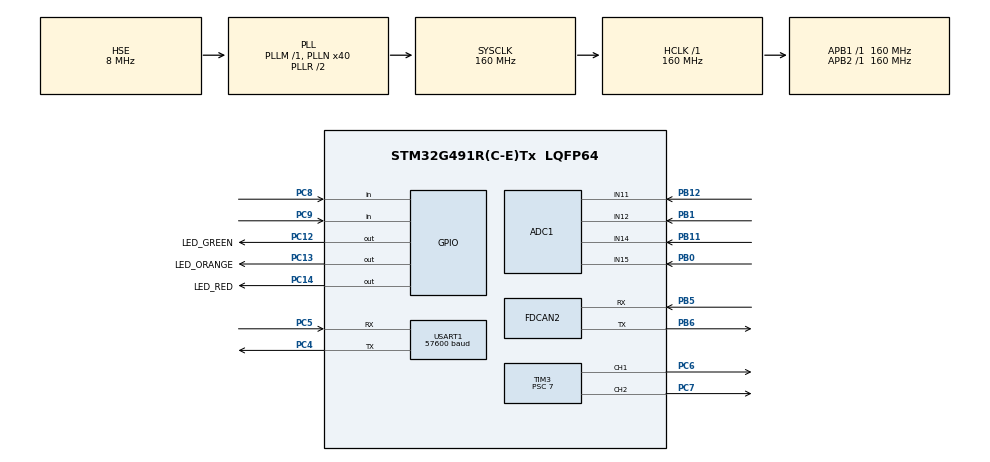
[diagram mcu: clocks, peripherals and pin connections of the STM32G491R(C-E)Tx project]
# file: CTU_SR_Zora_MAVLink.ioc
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ADC1.Channel-0\#ChannelRegularConversion=ADC_CHANNEL_12
ADC1.Channel-1\#ChannelRegularConversion=ADC_CHANNEL_11
ADC1.Channel-2\#ChannelRegularConversion=ADC_CHANNEL_14
ADC1.Channel-3\#ChannelRegularConversion=ADC_CHANNEL_15
ADC1.NbrOfConversion=4
ADC1.NbrOfConversionFlag=1
ADC1.OffsetNumber-0\#ChannelRegularConversion=ADC_OFFSET_NONE
ADC1.OffsetNumber-1\#ChannelRegularConversion=ADC_OFFSET_NONE
ADC1.OffsetNumber-2\#ChannelRegularConversion=ADC_OFFSET_NONE
ADC1.OffsetNumber-3\#ChannelRegularConversion=ADC_OFFSET_NONE
ADC1.Rank-0\#ChannelRegularConversion=1
ADC1.Rank-1\#ChannelRegularConversion=2
ADC1.Rank-2\#ChannelRegularConversion=3
ADC1.Rank-3\#ChannelRegularConversion=4
ADC1.SamplingTime-0\#ChannelRegularConversion=ADC_SAMPLETIME_2CYCLES_5
ADC1.SamplingTime-1\#ChannelRegularConversion=ADC_SAMPLETIME_2CYCLES_5
ADC1.SamplingTime-2\#ChannelRegularConversion=ADC_SAMPLETIME_2CYCLES_5
ADC1.SamplingTime-3\#ChannelRegularConversion=ADC_SAMPLETIME_2CYCLES_5
ADC1.master=1
Dma.ADC1.0.Direction=DMA_PERIPH_TO_MEMORY
Dma.ADC1.0.EventEnable=DISABLE
Dma.ADC1.0.Instance=DMA1_Channel1
Dma.ADC1.0.MemDataAlignment=DMA_MDATAALIGN_WORD
Dma.ADC1.0.MemInc=DMA_MINC_ENABLE
Dma.ADC1.0.Mode=DMA_CIRCULAR
Dma.ADC1.0.PeriphDataAlignment=DMA_PDATAALIGN_WORD
Dma.ADC1.0.PeriphInc=DMA_PINC_DISABLE
Dma.ADC1.0.Polarity=HAL_DMAMUX_REQ_GEN_RISING
Dma.ADC1.0.Priority=DMA_PRIORITY_LOW
Dma.ADC1.0.RequestNumber=1
Dma.ADC1.0.SignalID=NONE
Dma.ADC1.0.SyncEnable=DISABLE
Dma.ADC1.0.SyncPolarity=HAL_DMAMUX_SYNC_NO_EVENT
Dma.ADC1.0.SyncRequestNumber=1
Dma.ADC1.0.SyncSignalID=NONE
Dma.Request0=ADC1
FDCAN2.AutoRetransmission=DISABLE
FDCAN2.CalculateBaudRateNominal=125000
FDCAN2.CalculateTimeBitNominal=8000
FDCAN2.CalculateTimeQuantumNominal=1000.0
FDCAN2.DataPrescaler=1
FDCAN2.DataSyncJumpWidth=1
FDCAN2.DataTimeSeg1=1
FDCAN2.DataTimeSeg2=1
FDCAN2.FrameFormat=FDCAN_FRAME_CLASSIC
FDCAN2.NominalPrescaler=160
FDCAN2.NominalSyncJumpWidth=1
FDCAN2.NominalTimeSeg1=5
FDCAN2.ProtocolException=DISABLE
FDCAN2.StdFiltersNbr=3
FDCAN2.TransmitPause=DISABLE
Mcu.Family=STM32G4
Mcu.Name=STM32G491R(C-E)Tx
Mcu.Package=LQFP64
NVIC.DMA1_Channel1_IRQn=true\:0\:0\:false\:false\:true\:false\:true\:true
NVIC.FDCAN2_IT0_IRQn=true\:0\:0\:false\:false\:true\:true\:true\:true
NVIC.PriorityGroup=NVIC_PRIORITYGROUP_4
NVIC.TIM3_IRQn=true\:0\:0\:false\:false\:true\:true\:true\:true
NVIC.TIM4_IRQn=true\:0\:0\:false\:false\:true\:true\:true\:true
NVIC.USART1_IRQn=true\:0\:0\:false\:false\:true\:true\:true\:true
PA13.Mode=Serial_Wire
PA13.Signal=SYS_JTMS-SWDIO
PA14.Mode=Serial_Wire
PA14.Signal=SYS_JTCK-SWCLK
PB0.Mode=IN15-Single-Ended
PB0.Signal=ADC1_IN15
PB1.Mode=IN12-Single-Ended
PB1.Signal=ADC1_IN12
PB11.Mode=IN14-Single-Ended
PB11.Signal=ADC1_IN14
PB12.Mode=IN11-Single-Ended
PB12.Signal=ADC1_IN11
PB5.Mode=FDCAN_Activate
PB5.Signal=FDCAN2_RX
PB6.Mode=FDCAN_Activate
PB6.Signal=FDCAN2_TX
PC12.GPIO_Label=LED_GREEN
PC12.Signal=GPIO_Output
PC13.GPIO_Label=LED_ORANGE
PC13.Signal=GPIO_Output
PC14-OSC32_IN.GPIO_Label=LED_RED
PC14-OSC32_IN.Signal=GPIO_Output
PC4.Mode=Asynchronous
PC4.Signal=USART1_TX
PC5.Mode=Asynchronous
PC5.Signal=USART1_RX
PC6.Signal=S_TIM3_CH1
PC7.Signal=S_TIM3_CH2
PC8.GPIO_PuPd=GPIO_PULLUP
PC8.Signal=GPIO_Input
PC9.GPIO_PuPd=GPIO_PULLUP
PC9.Signal=GPIO_Input
PF0-OSC_IN.Mode=HSE-External-Oscillator
PF0-OSC_IN.Signal=RCC_OSC_IN
PF1-OSC_OUT.Mode=HSE-External-Oscillator
PF1-OSC_OUT.Signal=RCC_OSC_OUT
ProjectManager.HeapSize=0x200
ProjectManager.StackSize=0x400
ProjectManager.TargetToolchain=STM32CubeIDE
RCC.ADC12Freq_Value=160000000
RCC.ADC345Freq_Value=160000000
RCC.AHBFreq_Value=160000000
RCC.APB1Freq_Value=160000000
RCC.APB1TimFreq_Value=160000000
RCC.APB2Freq_Value=160000000
RCC.APB2TimFreq_Value=160000000
RCC.CortexFreq_Value=160000000
RCC.EXTERNAL_CLOCK_VALUE=12288000
RCC.HCLKFreq_Value=160000000
RCC.HSE_VALUE=8000000
RCC.HSI48_VALUE=48000000
RCC.HSI_VALUE=16000000
RCC.LSE_VALUE=32768
RCC.MSIAutoCalibration=ENABLED
RCC.MSICalibrationValue=0
RCC.PLLN=40
RCC.PLLSourceVirtual=RCC_PLLSOURCE_HSE
RCC.SYSCLKFreq_VALUE=160000000
RCC.SYSCLKSource=RCC_SYSCLKSOURCE_PLLCLK
RCC.USBFreq_Value=48000000
RCC.VCOOutputFreq_Value=320000000
SH.S_TIM3_CH1.0=TIM3_CH1,PWM Generation1 CH1
SH.S_TIM3_CH2.0=TIM3_CH2,PWM Generation2 CH2
TIM3.Channel-PWM\ Generation1\ CH1=TIM_CHANNEL_1
TIM3.Channel-PWM\ Generation2\ CH2=TIM_CHANNEL_2
TIM3.PeriodNoDither=49999
TIM3.Prescaler=7
TIM4.PeriodNoDither=999
TIM4.Prescaler=159
USART1.BaudRate=57600
USART1.VirtualMode-Asynchronous=VM_ASYNC
VP_SYS_VS_DBSignals.Mode=DisableDeadBatterySignals
VP_TIM3_VS_ClockSourceINT.Mode=Internal
VP_TIM4_VS_ClockSourceINT.Mode=Internal
board=custom

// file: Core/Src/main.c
/* USER CODE BEGIN Header */
/**
  ******************************************************************************
  * @file           : main.c
  * @brief          : Main program body
  ******************************************************************************
  * @attention
  *
  * Copyright (c) 2023 STMicroelectronics.
  * All rights reserved.
  *
  * This software is licensed under terms that can be found in the LICENSE file
  * in the root directory of this software component.
  * If no LICENSE file comes with this software, it is provided AS-IS.
  *
  ******************************************************************************
  */
/* USER CODE END Header */
#include "main.h"

//.......
// USED -Waddress-of-packed-member to suppress mavlink warnings (as recommended in documentation)
//.......

/* USER CODE BEGIN Includes */
//included after the pin defines

#include "ctu_sr_illustria_2/mavlink.h"
/* USER CODE END Includes */

ADC_HandleTypeDef hadc1;
DMA_HandleTypeDef hdma_adc1;

FDCAN_HandleTypeDef hfdcan2;

TIM_HandleTypeDef htim3;
TIM_HandleTypeDef htim4;

UART_HandleTypeDef huart1;

/* USER CODE BEGIN PV */

//we will store byte after byt to this FILO buffer
volatile uint8_t UART_RX_Buffer[MAVLINK_MAX_MESSAGE_LENGTH] = {0};
volatile uint16_t UART_RX_Buffer_NextFreeByteIndex = 0;

//when the message is received whole, it will be copied to this buffer
volatile uint8_t UART_RX_Received_Message[MAVLINK_MAX_MESSAGE_LENGTH] = {0};
volatile uint16_t UART_RX_Received_NextFreeByteIndex = 0;

volatile  uint8_t FLAG_UART_line_IDLE = 0;

volatile unsigned char UART_RX_Byte;
/* USER CODE END PV */

void SystemClock_Config(void);
static void MX_GPIO_Init(void);
static void MX_DMA_Init(void);
static void MX_ADC1_Init(void);
static void MX_TIM3_Init(void);
static void MX_TIM4_Init(void);
static void MX_FDCAN2_Init(void);
static void MX_USART1_UART_Init(void);

int main(void)
{

  /* MCU Configuration--------------------------------------------------------*/

  /* Reset of all peripherals, Initializes the Flash interface and the Systick. */
  HAL_Init();

  /* Configure the system clock */
  SystemClock_Config();

  /* Initialize all configured peripherals */
  MX_GPIO_Init();
  MX_DMA_Init();
  MX_ADC1_Init();
  MX_TIM3_Init();
  MX_TIM4_Init();
  MX_FDCAN2_Init();
  MX_USART1_UART_Init();
  /* USER CODE BEGIN 2 */
	//SysTick->LOAD = (SystemCoreClock / 1000) - 1; //value which will be reloaded after countdown
	//SysTick->VAL = 0x0;
	//SysTick->CTRL |= SysTick_CTRL_CLKSOURCE_Msk | SysTick_CTRL_TICKINT_Msk | SysTick_CTRL_ENABLE_Msk; //enable clock source to systick, enable systick interrupt, enable systick

  HAL_NVIC_SetPriority(SysTick_IRQn, 0, 0U);
  HAL_NVIC_EnableIRQ(SysTick_IRQn);

  HAL_UART_Receive_IT(&huart1,(uint8_t *)&UART_RX_Byte,1);
  // __HAL_UART_ENABLE_IT(&huart1,UART_FLAG_IDLE); //enable IDLE line interrupt for the logic to work
  USART1->CR1 |= USART_CR1_IDLEIE; // //enable IDLE line interrupt for the logic to work

  //does not owrk??
  //USART1->ICR |= USART_ICR_IDLECF; //clear the interrupt flag (so that we wont get interrupt instantly. next interrupt will occur only after RX buffer is not empty, eg on received data

  //SET MAVLINK SYSTEM ID AND COMPONENT ID
  MAVLinkSetCurrentSystem(&mavlink_system,MAVlinkSystemID,MAVlinkComponentID);

  setLEDs(1, 1, 1);

  uint32_t lastTick = 0;

  /* USER CODE END 2 */

  /* Infinite loop */
  /* USER CODE BEGIN WHILE */
  while (1)
  {

      uint32_t tick = HAL_GetTick();

      //send Heartbeat every second
      if(tick > (lastTick + 1000)){
          //TODO: implement heartbeat with timer/scheduler
          //TODO: implement heartbeat tiemout countdown and subsequent action
          MAVlinkWriteHearbeat();
    	  //MAVlinkWriteLEDstatus();
          lastTick = tick;
      }

      //wait for incoming data
      if(FLAG_UART_line_IDLE){
          MAVLinkParseBuffer((uint8_t *)UART_RX_Received_Message);
          FLAG_UART_line_IDLE = false;
      }

    /* USER CODE END WHILE */

  }
}

void SystemClock_Config(void)
{
  RCC_OscInitTypeDef RCC_OscInitStruct = {0};
  RCC_ClkInitTypeDef RCC_ClkInitStruct = {0};

  /** Configure the main internal regulator output voltage
  */
  HAL_PWREx_ControlVoltageScaling(PWR_REGULATOR_VOLTAGE_SCALE1_BOOST);

  /** Initializes the RCC Oscillators according to the specified parameters
  * in the RCC_OscInitTypeDef structure.
  */
  RCC_OscInitStruct.OscillatorType = RCC_OSCILLATORTYPE_HSE;
  RCC_OscInitStruct.HSEState = RCC_HSE_ON;
  RCC_OscInitStruct.PLL.PLLState = RCC_PLL_ON;
  RCC_OscInitStruct.PLL.PLLSource = RCC_PLLSOURCE_HSE;
  RCC_OscInitStruct.PLL.PLLM = RCC_PLLM_DIV1;
  RCC_OscInitStruct.PLL.PLLN = 40;
  RCC_OscInitStruct.PLL.PLLP = RCC_PLLP_DIV2;
  RCC_OscInitStruct.PLL.PLLQ = RCC_PLLQ_DIV2;
  RCC_OscInitStruct.PLL.PLLR = RCC_PLLR_DIV2;
  if (HAL_RCC_OscConfig(&RCC_OscInitStruct) != HAL_OK)
  {
    Error_Handler();
  }

  /** Initializes the CPU, AHB and APB buses clocks
  */
  RCC_ClkInitStruct.ClockType = RCC_CLOCKTYPE_HCLK|RCC_CLOCKTYPE_SYSCLK
                              |RCC_CLOCKTYPE_PCLK1|RCC_CLOCKTYPE_PCLK2;
  RCC_ClkInitStruct.SYSCLKSource = RCC_SYSCLKSOURCE_PLLCLK;
  RCC_ClkInitStruct.AHBCLKDivider = RCC_SYSCLK_DIV1;
  RCC_ClkInitStruct.APB1CLKDivider = RCC_HCLK_DIV1;
  RCC_ClkInitStruct.APB2CLKDivider = RCC_HCLK_DIV1;

  if (HAL_RCC_ClockConfig(&RCC_ClkInitStruct, FLASH_LATENCY_4) != HAL_OK)
  {
    Error_Handler();
  }
}

static void MX_ADC1_Init(void)
{

  ADC_MultiModeTypeDef multimode = {0};
  ADC_ChannelConfTypeDef sConfig = {0};

  /** Common config
  */
  hadc1.Instance = ADC1;
  hadc1.Init.ClockPrescaler = ADC_CLOCK_SYNC_PCLK_DIV4;
  hadc1.Init.Resolution = ADC_RESOLUTION_12B;
  hadc1.Init.DataAlign = ADC_DATAALIGN_RIGHT;
  hadc1.Init.GainCompensation = 0;
  hadc1.Init.ScanConvMode = ADC_SCAN_ENABLE;
  hadc1.Init.EOCSelection = ADC_EOC_SINGLE_CONV;
  hadc1.Init.LowPowerAutoWait = DISABLE;
  hadc1.Init.ContinuousConvMode = DISABLE;
  hadc1.Init.NbrOfConversion = 4;
  hadc1.Init.DiscontinuousConvMode = DISABLE;
  hadc1.Init.ExternalTrigConv = ADC_SOFTWARE_START;
  hadc1.Init.ExternalTrigConvEdge = ADC_EXTERNALTRIGCONVEDGE_NONE;
  hadc1.Init.DMAContinuousRequests = DISABLE;
  hadc1.Init.Overrun = ADC_OVR_DATA_PRESERVED;
  hadc1.Init.OversamplingMode = DISABLE;
  if (HAL_ADC_Init(&hadc1) != HAL_OK)
  {
    Error_Handler();
  }

  /** Configure the ADC multi-mode
  */
  multimode.Mode = ADC_MODE_INDEPENDENT;
  if (HAL_ADCEx_MultiModeConfigChannel(&hadc1, &multimode) != HAL_OK)
  {
    Error_Handler();
  }

  /** Configure Regular Channel
  */
  sConfig.Channel = ADC_CHANNEL_12;
  sConfig.Rank = ADC_REGULAR_RANK_1;
  sConfig.SamplingTime = ADC_SAMPLETIME_2CYCLES_5;
  sConfig.SingleDiff = ADC_SINGLE_ENDED;
  sConfig.OffsetNumber = ADC_OFFSET_NONE;
  sConfig.Offset = 0;
  if (HAL_ADC_ConfigChannel(&hadc1, &sConfig) != HAL_OK)
  {
    Error_Handler();
  }

  /** Configure Regular Channel
  */
  sConfig.Channel = ADC_CHANNEL_11;
  sConfig.Rank = ADC_REGULAR_RANK_2;
  if (HAL_ADC_ConfigChannel(&hadc1, &sConfig) != HAL_OK)
  {
    Error_Handler();
  }

  /** Configure Regular Channel
  */
  sConfig.Channel = ADC_CHANNEL_14;
  sConfig.Rank = ADC_REGULAR_RANK_3;
  if (HAL_ADC_ConfigChannel(&hadc1, &sConfig) != HAL_OK)
  {
    Error_Handler();
  }

  /** Configure Regular Channel
  */
  sConfig.Channel = ADC_CHANNEL_15;
  sConfig.Rank = ADC_REGULAR_RANK_4;
  if (HAL_ADC_ConfigChannel(&hadc1, &sConfig) != HAL_OK)
  {
    Error_Handler();
  }

}

static void MX_FDCAN2_Init(void)
{

  hfdcan2.Instance = FDCAN2;
  hfdcan2.Init.ClockDivider = FDCAN_CLOCK_DIV1;
  hfdcan2.Init.FrameFormat = FDCAN_FRAME_CLASSIC;
  hfdcan2.Init.Mode = FDCAN_MODE_NORMAL;
  hfdcan2.Init.AutoRetransmission = DISABLE;
  hfdcan2.Init.TransmitPause = DISABLE;
  hfdcan2.Init.ProtocolException = DISABLE;
  hfdcan2.Init.NominalPrescaler = 160;
  hfdcan2.Init.NominalSyncJumpWidth = 1;
  hfdcan2.Init.NominalTimeSeg1 = 5;
  hfdcan2.Init.NominalTimeSeg2 = 2;
  hfdcan2.Init.DataPrescaler = 1;
  hfdcan2.Init.DataSyncJumpWidth = 1;
  hfdcan2.Init.DataTimeSeg1 = 1;
  hfdcan2.Init.DataTimeSeg2 = 1;
  hfdcan2.Init.StdFiltersNbr = 3;
  hfdcan2.Init.ExtFiltersNbr = 0;
  hfdcan2.Init.TxFifoQueueMode = FDCAN_TX_FIFO_OPERATION;
  if (HAL_FDCAN_Init(&hfdcan2) != HAL_OK)
  {
    Error_Handler();
  }

}

static void MX_TIM3_Init(void)
{

  TIM_ClockConfigTypeDef sClockSourceConfig = {0};
  TIM_MasterConfigTypeDef sMasterConfig = {0};
  TIM_OC_InitTypeDef sConfigOC = {0};

  htim3.Instance = TIM3;
  htim3.Init.Prescaler = 7;
  htim3.Init.CounterMode = TIM_COUNTERMODE_UP;
  htim3.Init.Period = 49999;
  htim3.Init.ClockDivision = TIM_CLOCKDIVISION_DIV1;
  htim3.Init.AutoReloadPreload = TIM_AUTORELOAD_PRELOAD_DISABLE;
  if (HAL_TIM_Base_Init(&htim3) != HAL_OK)
  {
    Error_Handler();
  }
  sClockSourceConfig.ClockSource = TIM_CLOCKSOURCE_INTERNAL;
  if (HAL_TIM_ConfigClockSource(&htim3, &sClockSourceConfig) != HAL_OK)
  {
    Error_Handler();
  }
  if (HAL_TIM_PWM_Init(&htim3) != HAL_OK)
  {
    Error_Handler();
  }
  sMasterConfig.MasterOutputTrigger = TIM_TRGO_RESET;
  sMasterConfig.MasterSlaveMode = TIM_MASTERSLAVEMODE_DISABLE;
  if (HAL_TIMEx_MasterConfigSynchronization(&htim3, &sMasterConfig) != HAL_OK)
  {
    Error_Handler();
  }
  sConfigOC.OCMode = TIM_OCMODE_PWM1;
  sConfigOC.Pulse = 0;
  sConfigOC.OCPolarity = TIM_OCPOLARITY_HIGH;
  sConfigOC.OCFastMode = TIM_OCFAST_DISABLE;
  if (HAL_TIM_PWM_ConfigChannel(&htim3, &sConfigOC, TIM_CHANNEL_1) != HAL_OK)
  {
    Error_Handler();
  }
  if (HAL_TIM_PWM_ConfigChannel(&htim3, &sConfigOC, TIM_CHANNEL_2) != HAL_OK)
  {
    Error_Handler();
  }
  HAL_TIM_MspPostInit(&htim3);

}

static void MX_TIM4_Init(void)
{

  TIM_ClockConfigTypeDef sClockSourceConfig = {0};
  TIM_MasterConfigTypeDef sMasterConfig = {0};

  htim4.Instance = TIM4;
  htim4.Init.Prescaler = 159;
  htim4.Init.CounterMode = TIM_COUNTERMODE_UP;
  htim4.Init.Period = 999;
  htim4.Init.ClockDivision = TIM_CLOCKDIVISION_DIV1;
  htim4.Init.AutoReloadPreload = TIM_AUTORELOAD_PRELOAD_DISABLE;
  if (HAL_TIM_Base_Init(&htim4) != HAL_OK)
  {
    Error_Handler();
  }
  sClockSourceConfig.ClockSource = TIM_CLOCKSOURCE_INTERNAL;
  if (HAL_TIM_ConfigClockSource(&htim4, &sClockSourceConfig) != HAL_OK)
  {
    Error_Handler();
  }
  sMasterConfig.MasterOutputTrigger = TIM_TRGO_RESET;
  sMasterConfig.MasterSlaveMode = TIM_MASTERSLAVEMODE_DISABLE;
  if (HAL_TIMEx_MasterConfigSynchronization(&htim4, &sMasterConfig) != HAL_OK)
  {
    Error_Handler();
  }

}

static void MX_USART1_UART_Init(void)
{

  huart1.Instance = USART1;
  huart1.Init.BaudRate = 57600;
  huart1.Init.WordLength = UART_WORDLENGTH_8B;
  huart1.Init.StopBits = UART_STOPBITS_1;
  huart1.Init.Parity = UART_PARITY_NONE;
  huart1.Init.Mode = UART_MODE_TX_RX;
  huart1.Init.HwFlowCtl = UART_HWCONTROL_NONE;
  huart1.Init.OverSampling = UART_OVERSAMPLING_16;
  huart1.Init.OneBitSampling = UART_ONE_BIT_SAMPLE_DISABLE;
  huart1.Init.ClockPrescaler = UART_PRESCALER_DIV1;
  huart1.AdvancedInit.AdvFeatureInit = UART_ADVFEATURE_NO_INIT;
  if (HAL_UART_Init(&huart1) != HAL_OK)
  {
    Error_Handler();
  }
  if (HAL_UARTEx_SetTxFifoThreshold(&huart1, UART_TXFIFO_THRESHOLD_1_8) != HAL_OK)
  {
    Error_Handler();
  }
  if (HAL_UARTEx_SetRxFifoThreshold(&huart1, UART_RXFIFO_THRESHOLD_1_8) != HAL_OK)
  {
    Error_Handler();
  }
  if (HAL_UARTEx_DisableFifoMode(&huart1) != HAL_OK)
  {
    Error_Handler();
  }

}

static void MX_DMA_Init(void)
{

  /* DMA controller clock enable */
  __HAL_RCC_DMAMUX1_CLK_ENABLE();
  __HAL_RCC_DMA1_CLK_ENABLE();

  /* DMA interrupt init */
  /* DMA1_Channel1_IRQn interrupt configuration */
  HAL_NVIC_SetPriority(DMA1_Channel1_IRQn, 0, 0);
  HAL_NVIC_EnableIRQ(DMA1_Channel1_IRQn);

}

static void MX_GPIO_Init(void)
{
  GPIO_InitTypeDef GPIO_InitStruct = {0};

  /* GPIO Ports Clock Enable */
  __HAL_RCC_GPIOC_CLK_ENABLE();
  __HAL_RCC_GPIOF_CLK_ENABLE();
  __HAL_RCC_GPIOB_CLK_ENABLE();
  __HAL_RCC_GPIOA_CLK_ENABLE();

  /*Configure GPIO pin Output Level */
  HAL_GPIO_WritePin(GPIOC, LED_ORANGE_Pin|LED_RED_Pin|LED_GREEN_Pin, GPIO_PIN_RESET);

  /*Configure GPIO pins : LED_ORANGE_Pin LED_RED_Pin LED_GREEN_Pin */
  GPIO_InitStruct.Pin = LED_ORANGE_Pin|LED_RED_Pin|LED_GREEN_Pin;
  GPIO_InitStruct.Mode = GPIO_MODE_OUTPUT_PP;
  GPIO_InitStruct.Pull = GPIO_NOPULL;
  GPIO_InitStruct.Speed = GPIO_SPEED_FREQ_LOW;
  HAL_GPIO_Init(GPIOC, &GPIO_InitStruct);

  /*Configure GPIO pins : PC8 PC9 */
  GPIO_InitStruct.Pin = GPIO_PIN_8|GPIO_PIN_9;
  GPIO_InitStruct.Mode = GPIO_MODE_INPUT;
  GPIO_InitStruct.Pull = GPIO_PULLUP;
  HAL_GPIO_Init(GPIOC, &GPIO_InitStruct);

}

/* USER CODE BEGIN 4 */

//when the uart finishes recieving all data = one byte
void HAL_UART_RxCpltCallback(UART_HandleTypeDef *huart){

    //set the recived byte to the buffer and increase the index
    UART_RX_Buffer[UART_RX_Buffer_NextFreeByteIndex] = UART_RX_Byte;
    UART_RX_Buffer_NextFreeByteIndex++;

    //restart interrupt
    HAL_UART_Receive_IT(&huart1,(uint8_t *)&UART_RX_Byte,1);
}

/* USER CODE END 4 */

void Error_Handler(void)
{
  __disable_irq();
  while (1)
  {
  }
}
